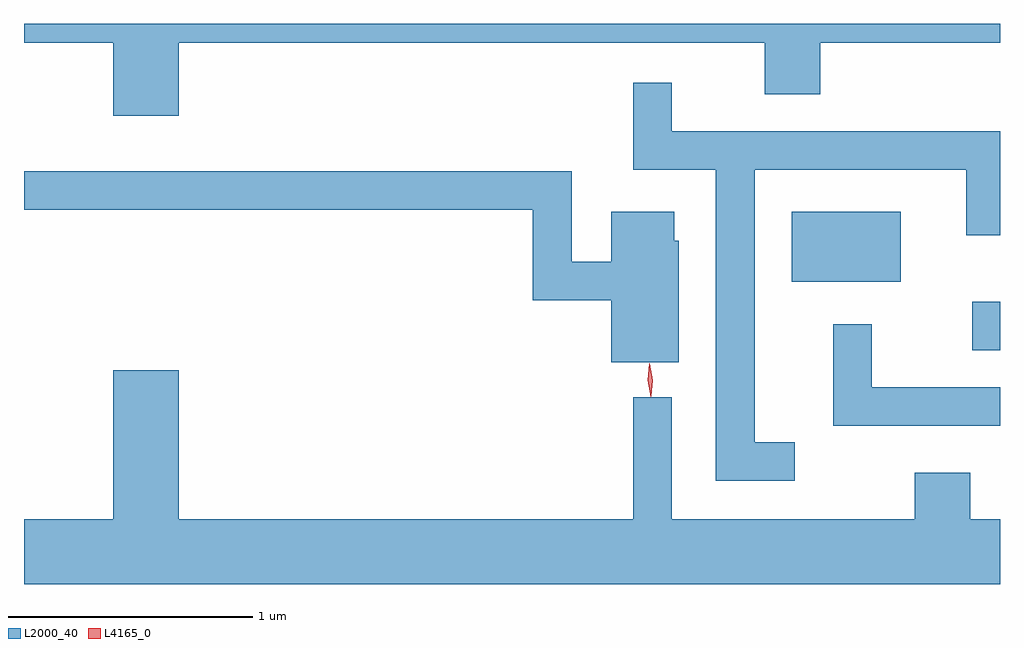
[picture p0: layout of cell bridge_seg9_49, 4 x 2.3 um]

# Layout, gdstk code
import gdstk
lib = gdstk.Library(unit=1e-6, precision=1e-09)
def R(c, l, rs):  # rectangles x0, y0, x1, y1
    for r in rs: c.add(gdstk.rectangle(r[:2], r[2:], *l))
def P(c, l, *ps):  # polygons
    for p in ps: c.add(gdstk.Polygon(p, *l))
L2000_40 = (2000, 40)
L4165_0 = (4165, 0)

bridge_seg9_49 = lib.new_cell('bridge_seg9_49')
R(bridge_seg9_49, L2000_40, [(1677.136,2003.876,1677.25,2004.074), (1676.396,2004.156,1676.844,2004.444)])
P(bridge_seg9_49, L2000_40, [(1673.884,2005.136),(1676.286,2005.136),(1676.286,2004.926),(1676.514,2004.926),(1676.514,2005.136),(1677.25,2005.136),(1677.25,2005.215),(1673.25,2005.215),(1673.25,2005.136),(1673.616,2005.136),(1673.616,2004.836),(1673.884,2004.836)],
  [(1676.408,2003.499),(1676.244,2003.499),(1676.244,2004.616),(1677.111,2004.616),(1677.111,2004.348),(1677.25,2004.348),(1677.25,2004.774),(1675.904,2004.774),(1675.904,2004.973),(1675.746,2004.973),(1675.746,2004.616),(1676.086,2004.616),(1676.086,2003.341),(1676.408,2003.341)],
  [(1675.934,2004.324),(1675.914,2004.324),(1675.914,2004.444),(1675.656,2004.444),(1675.656,2004.239),(1675.494,2004.239),(1675.494,2004.609),(1673.25,2004.609),(1673.25,2004.451),(1675.336,2004.451),(1675.336,2004.081),(1675.656,2004.081),(1675.656,2003.826),(1675.934,2003.826)],
  [(1677.25,2003.724),(1676.724,2003.724),(1676.724,2003.983),(1676.566,2003.983),(1676.566,2003.566),(1677.25,2003.566)],
  [(1677.25,2003.184),(1677.129,2003.184),(1677.129,2003.374),(1676.901,2003.374),(1676.901,2003.184),(1675.904,2003.184),(1675.904,2003.683),(1675.746,2003.683),(1675.746,2003.184),(1673.884,2003.184),(1673.884,2003.794),(1673.616,2003.794),(1673.616,2003.184),(1673.25,2003.184),(1673.25,2002.916),(1677.25,2002.916)])
P(bridge_seg9_49, L4165_0, [(1675.818,2003.684),(1675.818,2003.685),(1675.806,2003.753),(1675.813,2003.821),(1675.814,2003.822),(1675.814,2003.821),(1675.826,2003.753),(1675.818,2003.685)],
  [(1675.819,2003.688),(1675.819,2003.688),(1675.806,2003.753),(1675.812,2003.819),(1675.813,2003.819),(1675.813,2003.819),(1675.826,2003.754),(1675.82,2003.688)])

lib.write_gds('bridge_seg9_49.gds')
